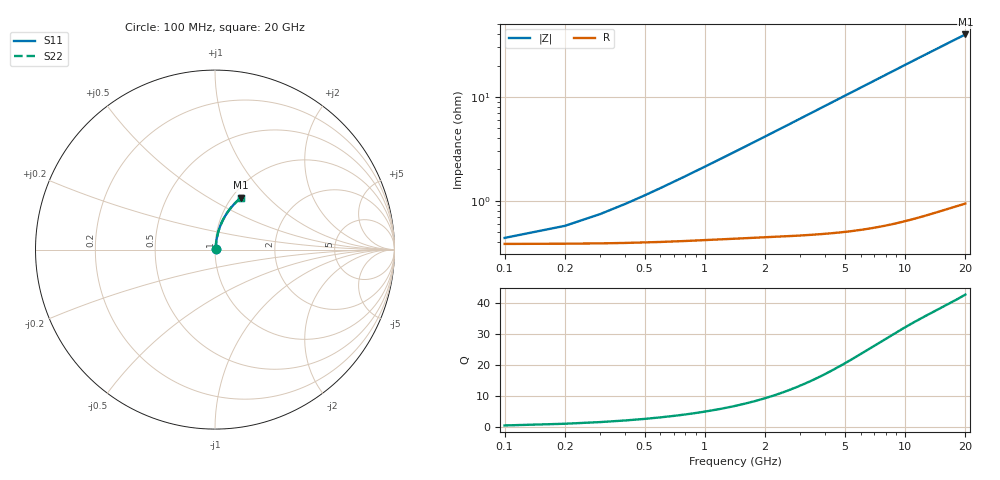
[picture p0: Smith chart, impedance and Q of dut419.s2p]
! Touchstone file exported from HFSS 2026.1.0
!  File:  C:/ffzhzh/LocalFiles/Ansys_Project_Files/temp_train_BSMRDL_419_1783012700_4048.aedt
!  Generated:  01:19:37 AM Jul  3, 2026
!  Design:  BSMRDL
!  Project:  temp_train_BSMRDL_419_1783012700_4048
! Variables:
!  h_bsmrdl = 2.55um
!  h_ox = 20um
!  h_rdl = 5um
!  h_sub = 80um
!  h_tmrdl = 5um
!  h_tsv = 80um
!  h_via = 3um
!  l_bsmrdl = 268.59um
!  l_sub = 668.59um
!  l_tmrdl = 200um
!  m_sub = 200um
!  pitch = 46.53um
!  r_tsv = 6um
!  s_tmrdl = 10um
!  w_bsmrdl = 10.18um
!  w_sub = 500um
!  w_tmrdl = 12um
!  x_tsv_center1 = 206um
!  x_tsv_center2 = 484.77um
!  x_tsv_center3 = 696.77um
!  x_tsv_center4 = 975.54um
!  x_tsv_center5 = 1187.54um
!  x_tsv_center6 = 1466.31um
# GHz S MA R 50.000000
! Terminal data exported
! Port[1] = BSM_RDL1_1_T1
! Port[2] = BSM_RDL1_1_T2
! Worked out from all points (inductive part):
!   200 points, 100 MHz to 20 GHz, reference 50 ohm
!   read as one part in series: L = 333 pH near 600 MHz
!   highest Q = 42.6 at 20 GHz (marker M1), where L = 318 pH
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0.1  0.004234 25.6  0.9962 -0.1  0.9962 -0.1  0.004234 25.6
! Gamma 0 0 0 0
! Port Impedance 50 0 50 0
0.3  0.006718 54.5  0.9961 -0.4  0.9961 -0.4  0.006718 54.5
0.4  0.00829 61.4  0.9961 -0.5  0.9961 -0.5  0.00829 61.4
0.5  0.00994 66.0  0.996 -0.7  0.996 -0.7  0.00994 66.0
0.6  0.01163 69.2  0.996 -0.8  0.996 -0.8  0.01163 69.2
0.7  0.01334 71.5  0.9959 -0.9  0.9959 -0.9  0.01334 71.5
0.9  0.01679 74.6  0.9958 -1.2  0.9958 -1.2  0.01679 74.6
1.2  0.022 77.3  0.9955 -1.6  0.9955 -1.6  0.022 77.3
1.4  0.02548 78.5  0.9954 -1.9  0.9954 -1.9  0.02548 78.5
1.7  0.03071 79.6  0.9952 -2.3  0.9952 -2.3  0.03071 79.6
2.2  0.03945 80.6  0.9948 -2.9  0.9948 -2.9  0.03945 80.6
2.8  0.04994 81.0  0.9942 -3.7  0.9942 -3.7  0.04994 81.0
3.5  0.06217 81.0  0.9934 -4.6  0.9934 -4.6  0.06217 81.0
4.2  0.07437 80.7  0.9924 -5.6  0.9924 -5.6  0.07437 80.7
5  0.08827 80.2  0.9912 -6.6  0.9912 -6.6  0.08827 80.2
5.9  0.1038 79.4  0.9895 -7.8  0.9895 -7.8  0.1038 79.4
6.8  0.1192 78.5  0.9875 -9.0  0.9875 -9.0  0.1192 78.4
8.3  0.1446 76.8  0.9838 -10.9  0.9838 -10.9  0.1446 76.8
10.1  0.1745 74.8  0.9784 -13.2  0.9784 -13.2  0.1745 74.7
13.4  0.2273 70.9  0.9667 -17.3  0.9667 -17.3  0.2273 70.8
16.7  0.2774 67.0  0.9527 -21.3  0.9527 -21.3  0.2774 67.0
20  0.3244 63.3  0.9371 -25.2  0.9371 -25.2  0.3244 63.2
